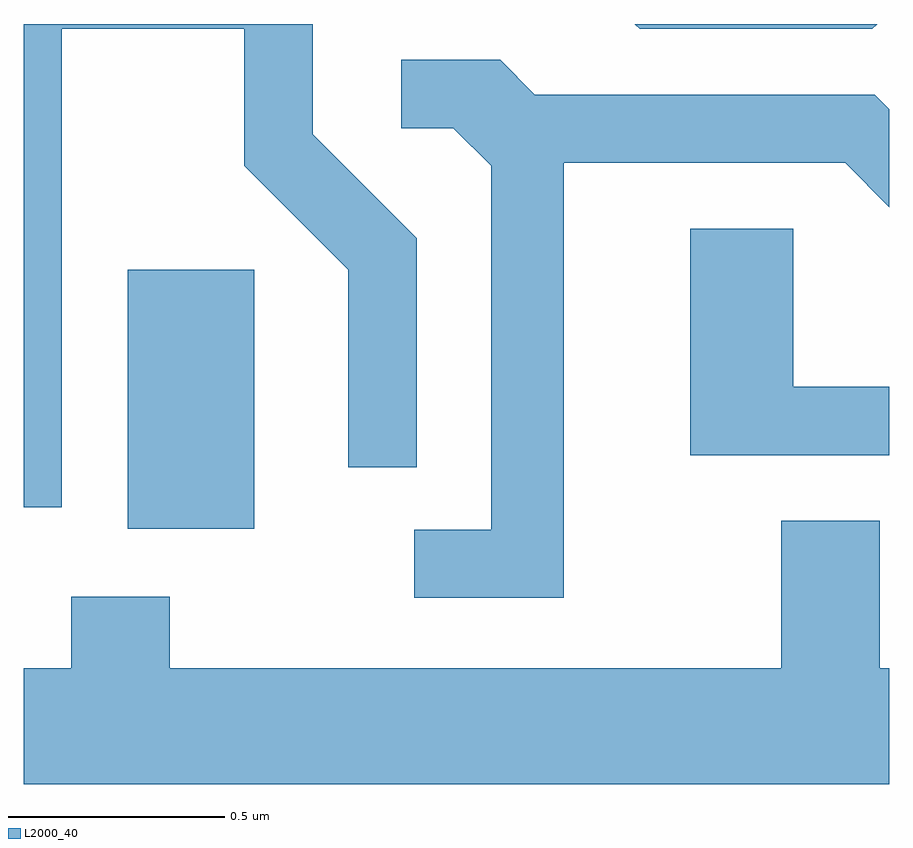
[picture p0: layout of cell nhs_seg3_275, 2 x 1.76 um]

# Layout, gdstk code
import gdstk
lib = gdstk.Library(unit=1e-6, precision=1e-09)
def R(c, l, rs):  # rectangles x0, y0, x1, y1
    for r in rs: c.add(gdstk.rectangle(r[:2], r[2:], *l))
def P(c, l, *ps):  # polygons
    for p in ps: c.add(gdstk.Polygon(p, *l))
L2000_40 = (2000, 40)

nhs_seg3_275 = lib.new_cell('nhs_seg3_275')
R(nhs_seg3_275, L2000_40, [(187.851,1117.726,188.144,1118.324)])
P(nhs_seg3_275, L2000_40, [(187.699,1118.881),(188.121,1118.881),(188.121,1118.564),(188.361,1118.324),(188.361,1117.868),(188.519,1117.868),(188.519,1118.397),(188.279,1118.637),(188.279,1118.892),(187.611,1118.892),(187.611,1117.776),(187.699,1117.776)],
  [(189.583,1118.892),(189.023,1118.892),(189.034,1118.881),(189.572,1118.881)],
  [(188.859,1118.571),(189.509,1118.571),(189.611,1118.469),(189.611,1118.695),(189.577,1118.729),(188.792,1118.729),(188.712,1118.809),(188.483,1118.809),(188.483,1118.651),(188.604,1118.651),(188.691,1118.564),(188.691,1117.724),(188.513,1117.724),(188.513,1117.566),(188.859,1117.566)],
  [(189.611,1118.054),(189.389,1118.054),(189.389,1118.419),(189.151,1118.419),(189.151,1117.896),(189.611,1117.896)],
  [(189.611,1117.404),(189.589,1117.404),(189.589,1117.744),(189.361,1117.744),(189.361,1117.404),(187.949,1117.404),(187.949,1117.569),(187.721,1117.569),(187.721,1117.404),(187.611,1117.404),(187.611,1117.136),(189.611,1117.136)])

lib.write_gds('nhs_seg3_275.gds')
